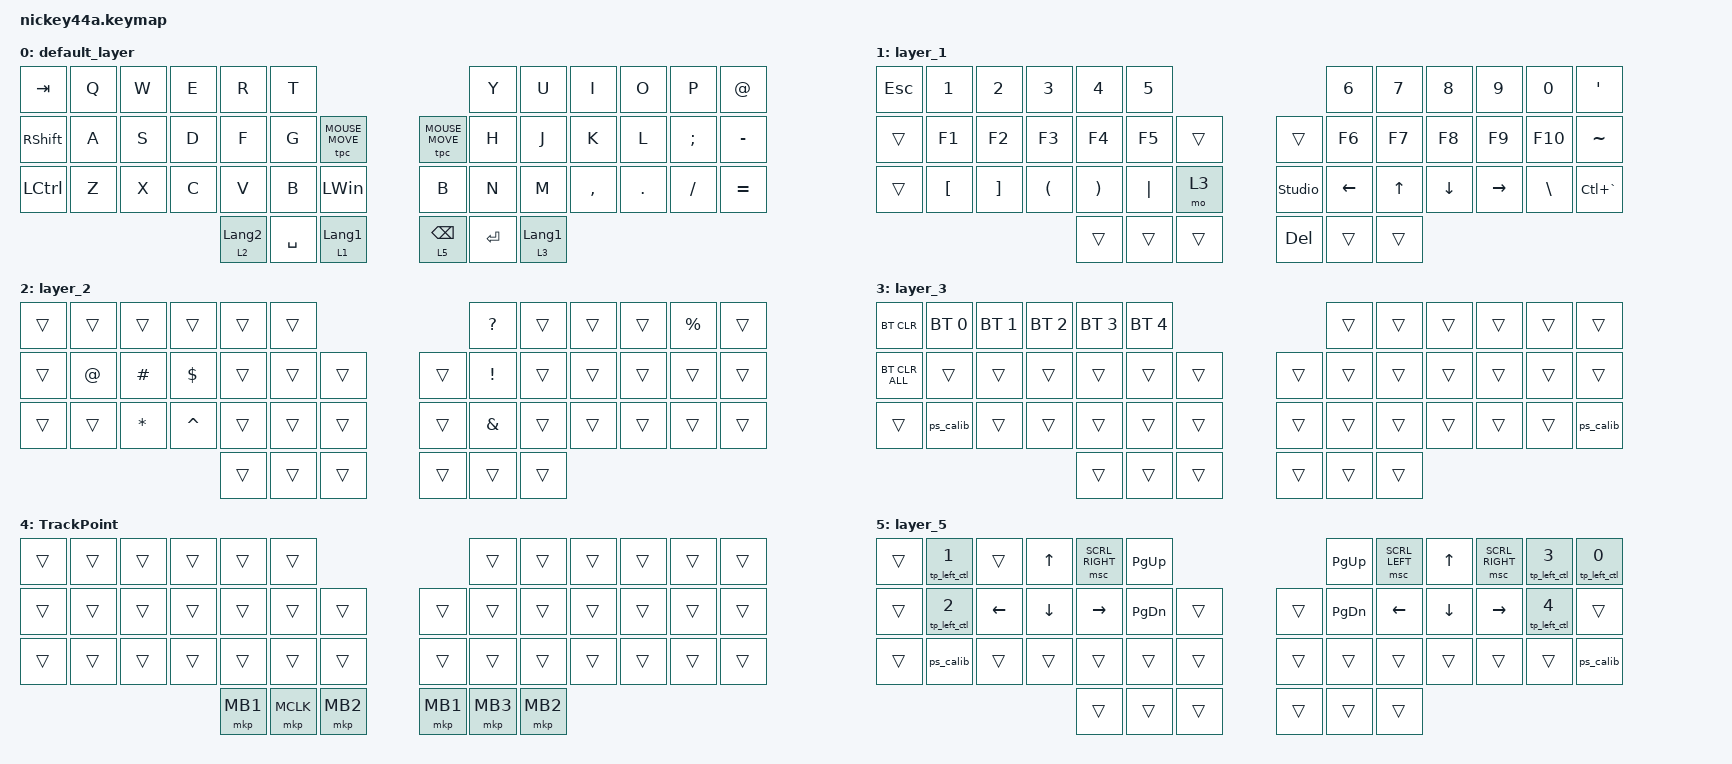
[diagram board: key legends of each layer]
#include <dt-bindings/zmk/trackpoint_control.h>
#include <behaviors/lpps-calibration.dtsi>
#include <behaviors/trackpoint-left-ctl.dtsi>
#include <behaviors.dtsi>
#include <dt-bindings/zmk/bt.h>
#include <dt-bindings/zmk/keys.h>
#include <dt-bindings/zmk/pointing.h>

&mt {
    flavor = "balanced";
    quick-tap-ms = <0>;
};

&lt {
    quick-tap-ms = <300>;
    flavor = "balanced";
};

/ {
    combos { compatible = "zmk,combos"; };

    macros {
        to_layer_0: to_layer_0 {
            compatible = "zmk,behavior-macro-one-param";
            #binding-cells = <1>;
            bindings = <&to 0 &macro_param_1to1 &kp MACRO_PLACEHOLDER>;
            label = "TO_LAYER_0";
        };
    };

    behaviors {
        lt_to_layer_0: lt_to_layer_0 {
            compatible = "zmk,behavior-hold-tap";
            label = "LAYER_TAP_TO_0";
            bindings = <&mo>, <&to_layer_0>;

            #binding-cells = <2>;
            tapping-term-ms = <200>;
        };
    };

    keymap {
        compatible = "zmk,keymap";

        default_layer {
            bindings = <
&kp TAB     &kp Q  &kp W  &kp E  &kp R             &kp T                                           &kp Y    &kp U             &kp I      &kp O    &kp P     &kp AT_SIGN
&kp RSHIFT  &kp A  &kp S  &kp D  &kp F             &kp G                                           &kp H    &kp J             &kp K      &kp L    &kp SEMI  &kp MINUS
&kp LCTRL   &kp Z  &kp X  &kp C  &kp V             &kp B      &kp LEFT_WIN        &kp B            &kp N    &kp M             &kp COMMA  &kp DOT  &kp FSLH  &kp EQUAL
                                 &lt 2 LANGUAGE_2  &kp SPACE  &lt 1 LANGUAGE_1    &lt 5 BACKSPACE  &kp RET  &lt 3 LANGUAGE_1
                                                              &tpc MOUSE_MOVE     &tpc MOUSE_MOVE
            >;
        };

        layer_1 {
            bindings = <
&kp ESCAPE  &kp NUMBER_1      &kp NUMBER_2       &kp NUMBER_3          &kp NUMBER_4           &kp NUMBER_5                            &kp NUMBER_6    &kp N7        &kp N8          &kp N9           &kp N0         &kp APOS
&trans      &kp F1            &kp F2             &kp F3                &kp F4                 &kp F5                                  &kp F6          &kp F7        &kp F8          &kp F9           &kp F10        &kp TILDE
&trans      &kp LEFT_BRACKET  &kp RIGHT_BRACKET  &kp LEFT_PARENTHESIS  &kp RIGHT_PARENTHESIS  &kp PIPE      &mo 3     &studio_unlock  &kp LEFT_ARROW  &kp UP_ARROW  &kp DOWN_ARROW  &kp RIGHT_ARROW  &kp BACKSLASH  &kp LC(GRAVE)
                                                                       &trans                 &trans        &trans    &kp DELETE      &trans          &trans
                                                                                                            &trans    &trans
            >;
        };

        layer_2 {
            bindings = <
&trans  &trans  &trans     &trans      &trans  &trans                    &kp QUESTION   &trans  &trans  &trans  &kp PERCENT  &trans
&trans  &kp AT  &kp HASH   &kp DOLLAR  &trans  &trans                    &kp EXCL       &trans  &trans  &trans  &trans       &trans
&trans  &trans  &kp ASTRK  &kp CARET   &trans  &trans  &trans    &trans  &kp AMPERSAND  &trans  &trans  &trans  &trans       &trans
                                       &trans  &trans  &trans    &trans  &trans         &trans
                                                       &trans    &trans
            >;
        };

        layer_3 {
            bindings = <
&bt BT_CLR      &bt BT_SEL 0  &bt BT_SEL 1  &bt BT_SEL 2  &bt BT_SEL 3  &bt BT_SEL 4                    &trans  &trans  &trans  &trans  &trans  &trans
&bt BT_CLR_ALL  &trans        &trans        &trans        &trans        &trans                          &trans  &trans  &trans  &trans  &trans  &trans
&trans          &ps_calib     &trans        &trans        &trans        &trans        &trans    &trans  &trans  &trans  &trans  &trans  &trans  &ps_calib
                                                          &trans        &trans        &trans    &trans  &trans  &trans
                                                                                      &trans    &trans
            >;
        };

        /* Auto-activated while either TrackPoint moves (see zip_temp_layer in overlay). */

        trackpoint_layer {
            display-name = "TrackPoint";
            bindings = <
&trans  &trans  &trans  &trans  &trans    &trans                           &trans    &trans    &trans  &trans  &trans  &trans
&trans  &trans  &trans  &trans  &trans    &trans                           &trans    &trans    &trans  &trans  &trans  &trans
&trans  &trans  &trans  &trans  &trans    &trans     &trans      &trans    &trans    &trans    &trans  &trans  &trans  &trans
                                &mkp MB1  &mkp MCLK  &mkp MB2    &mkp MB1  &mkp MB3  &mkp MB2
                                                     &trans      &trans
            >;
        };

        layer_5 {
            bindings = <
&trans  &tp_left_ctl 1  &trans  &kp UP_ARROW    &msc SCRL_RIGHT  &kp PAGE_UP                      &kp PAGE_UP     &msc SCRL_LEFT  &kp UP_ARROW    &msc SCRL_RIGHT  &tp_left_ctl 3  &tp_left_ctl 0
&trans  &tp_left_ctl 2  &kp LEFT_ARROW  &kp DOWN_ARROW  &kp RIGHT_ARROW  &kp PAGE_DOWN                    &kp PAGE_DOWN   &kp LEFT_ARROW  &kp DOWN_ARROW  &kp RIGHT_ARROW  &tp_left_ctl 4  &trans
&trans  &ps_calib  &trans          &trans          &trans           &trans         &trans    &trans  &trans         &trans          &trans          &trans              &trans  &ps_calib
                                                &trans           &trans         &trans    &trans  &trans         &trans
                                                                                &trans    &trans
            >;
        };
    };
};
